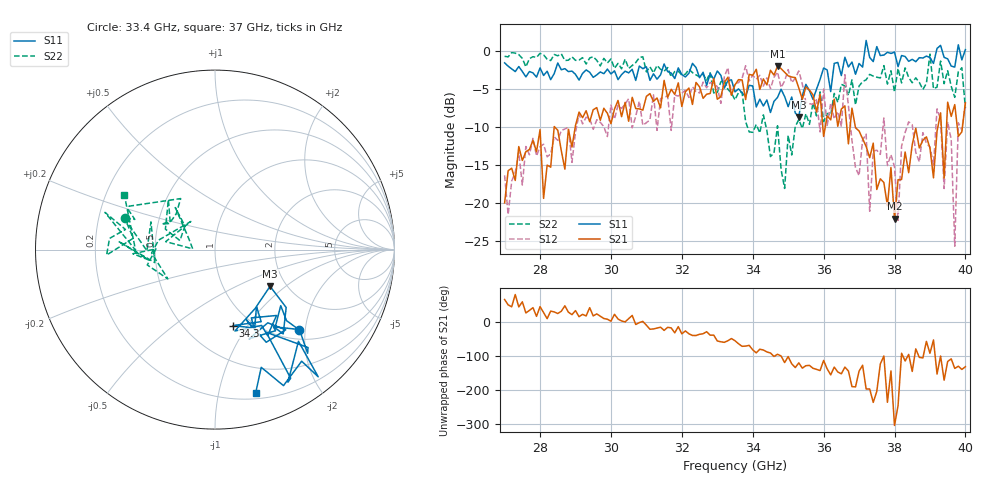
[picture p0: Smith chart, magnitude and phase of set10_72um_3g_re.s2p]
! Quiescent point : V1=-2.31417E-03 I1=+3.14876E-04 V2=-1.45774E-02 I2=-4.54929E-03
! Pulsed point : V1=-1.96981E-03 I1=+3.16719E-04 V2=-1.46906E-02 I2=-4.60056E-03
! Period : +2.00000E-04
! Input Supply timing : delay=+1.60000E-06 width=+2.20000E-06
! Output Supply timing : delay=+1.70000E-06 width=+2.00000E-06
! VNA timing : delay=+2.40000E-06 width=+1.10000E-06
# Hz S RI R 50
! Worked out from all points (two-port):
!   131 points, 27 GHz to 40 GHz, reference 50 ohm
!   highest |S21| = -1.97 dB at 34.7 GHz (marker M1); lowest = -22.1 dB at 38 GHz (marker M2)
!   |S21| within 3 dB of the highest: 33.46 GHz to 33.75 GHz (284.7 MHz wide, 0.847 % of centre); 34.2 GHz to 35.31 GHz (1.103 GHz wide, 3.17 % of centre)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
!   lowest |S11| = -8.7 dB at 35.3 GHz (marker M3), VSWR 2.17, Z = 82.7 - j39.2 ohm
!   |S11| at or under -10 dB: nowhere
!   |S22| runs from -18.1 to -0.2 dB; largest |S21 - S12| = 0.49
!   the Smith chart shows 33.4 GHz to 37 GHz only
!   S11 on the Smith chart (normalised r, x): 33.4 GHz: 1.21, -1.86; 34.3 GHz: 0.82, -0.86; 37 GHz: 0.25, -1.29
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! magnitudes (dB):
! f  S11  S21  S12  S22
! 27 GHz  -1.5  -20.0  -16.4  -0.7
! 29.2 GHz  -2.9  -8.8  -9.6  -0.8
! 31.4 GHz  -3.1  -7.5  -6.2  -2.4
! 33.4 GHz  -3.8  -5.8  -5.8  -5.5
! 33.5 GHz  -5.4  -4.4  -4.2  -6.4
! 34.3 GHz  -7.2  -3.7  -4.6  -8.4
! 34.7 GHz  -6.1  -2.0  -2.7  -9.8
! 34.9 GHz  -6.0  -2.8  -3.9  -18.1
! 35.3 GHz  -8.7  -4.9  -2.6  -9.0
! 35.7 GHz  -6.4  -5.7  -7.0  -6.8
! 36.6 GHz  -0.8  -7.2  -3.1  -4.6
! 37 GHz  -1.6  -10.5  -16.4  -4.6
! 37.9 GHz  -0.3  -15.3  -13.6  -2.6
! 38 GHz  -0.1  -22.1  -15.2  -5.4
! 38.1 GHz  -2.0  -17.0  -22.3  -2.3
! 38.4 GHz  -1.3  -16.0  -9.3  -3.5
! 39.2 GHz  0.4  -10.6  -7.6  -4.7
! 39.4 GHz  -0.8  -16.7  -18.1  -4.3
! 39.5 GHz  -1.0  -6.7  -9.3  -2.6
! 39.7 GHz  -2.1  -7.0  -25.7  -6.1
! 39.8 GHz  0.9  -11.2  -9.4  -2.7
! 40 GHz  0.2  -6.8  -6.8  -7.5
